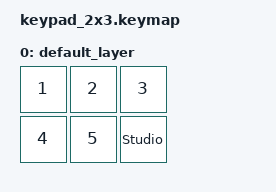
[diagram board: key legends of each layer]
#include <behaviors.dtsi>
#include <dt-bindings/zmk/keys.h>

/ {
    keymap {
        compatible = "zmk,keymap";

        default_layer {
            bindings = <
                &kp N1    &kp N2    &kp N3         // Visual Row 1
                &kp N4    &kp N5    &studio_unlock // Visual Row 2
            >;
        };
    };
};
